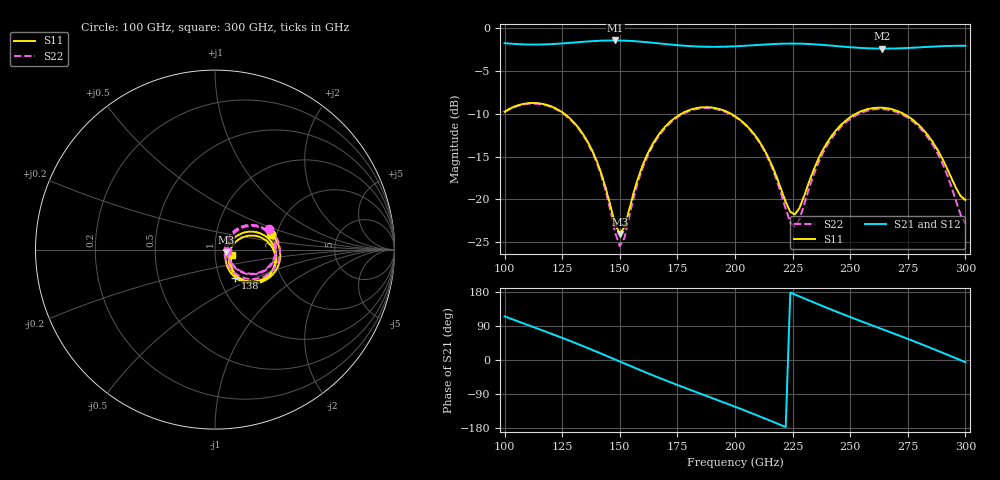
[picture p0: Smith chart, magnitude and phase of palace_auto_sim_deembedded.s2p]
! Created with skrf 1.11.0 (http://scikit-rf.org).
# GHz S DB R 50.0
!freq dBS11 angS11 dBS21 angS21 dBS12 angS12 dBS22 angS22
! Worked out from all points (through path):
!   101 points, 100 GHz to 300 GHz, reference 50 ohm
!   highest |S21| = -1.41 dB at 148 GHz (marker M1); lowest = -2.4 dB at 264 GHz (marker M2)
!   group delay of S21, straight-line fit = 6.7 ps
!   lowest |S11| = -24.1 dB at 150 GHz (marker M3), VSWR 1.13, Z = 56.4 - j1.74 ohm
!   |S11| at or under -10 dB: 126 GHz to 176.7 GHz (50.7 GHz wide, 33.5 % of centre); 198.3 GHz to 252.4 GHz (54.18 GHz wide, 24 % of centre); 273.1 GHz to end of sweep
!   |S22| runs from -25.5 to -8.8 dB; largest |S21 - S12| = 1.4e-13
!   S11 on the Smith chart (normalised r, x): 100 GHz: 1.87, +0.36; 138 GHz: 1.19, -0.39; 300 GHz: 1.20, -0.08
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100  -9.75 15.2  -1.73 115.2  -1.73 115.2  -9.82 20.7
118  -8.93 -19.5  -1.87 74.5  -1.87 74.5  -9.01 -13.4
134  -12.36 -48.8  -1.57 36.7  -1.57 36.7  -12.48 -42.7
138  -14.29 -54.1  -1.50 26.8  -1.50 26.8  -14.44 -48.4
144  -18.79 -54.1  -1.43 11.5  -1.43 11.5  -19.16 -49.7
148  -22.92 -35.5  -1.41 1.2  -1.41 1.2  -23.93 -31.4
150  -24.06 -14.2  -1.42 -4.0  -1.42 -4.0  -25.49 -6.9
152  -23.27 8.1  -1.44 -9.2  -1.44 -9.2  -24.52 19.8
160  -15.96 32.0  -1.58 -29.6  -1.58 -29.6  -16.28 44.3
168  -12.04 22.9  -1.79 -49.3  -1.79 -49.3  -12.22 34.4
184  -9.29 -5.3  -2.12 -86.7  -2.12 -86.7  -9.41 6.0
200  -10.27 -33.5  -2.10 -123.3  -2.10 -123.3  -10.36 -22.4
212  -13.86 -49.9  -1.91 -152.0  -1.91 -152.0  -14.00 -40.0
226  -21.78 -10.0  -1.78 172.8  -1.78 172.8  -23.26 2.0
234  -16.66 23.5  -1.86 152.4  -1.86 152.4  -17.23 40.5
240  -13.36 21.5  -1.98 137.5  -1.98 137.5  -13.69 37.7
248  -10.81 10.4  -2.16 118.1  -2.16 118.1  -11.02 25.9
264  -9.29 -17.0  -2.37 81.1  -2.37 81.1  -9.45 -2.5
268  -9.46 -23.9  -2.36 71.9  -2.36 71.9  -9.62 -9.7
276  -10.47 -37.0  -2.28 53.3  -2.28 53.3  -10.65 -23.7
286  -13.38 -49.3  -2.13 29.3  -2.13 29.3  -13.70 -38.3
300  -20.08 -19.0  -2.04 -5.8  -2.04 -5.8  -22.88 -6.8
